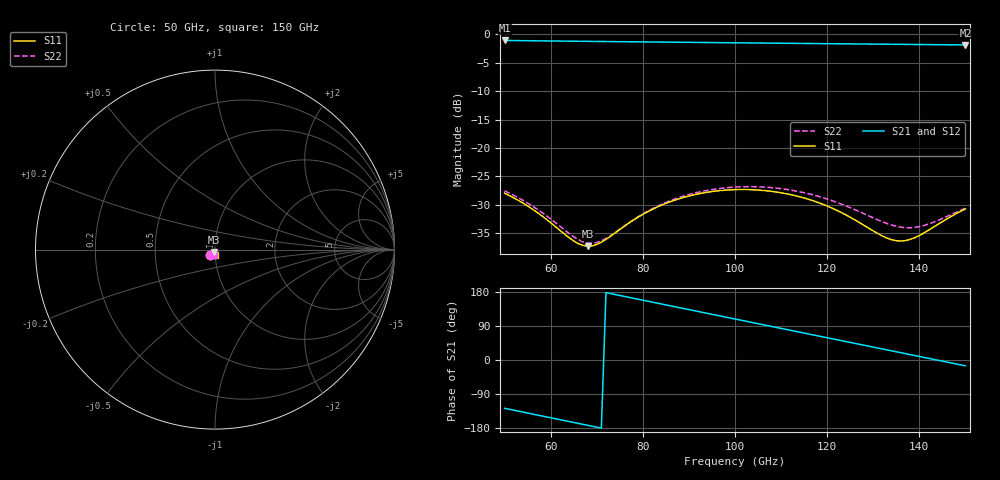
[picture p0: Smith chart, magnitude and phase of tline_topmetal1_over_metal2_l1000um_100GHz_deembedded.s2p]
! Created with skrf 2.2.0 (http://scikit-rf.org).
# GHz S DB R 50.0
! Port[1] = P1
! Port[2] = P2
!freq dBS11 angS11 dBS21 angS21 dBS12 angS12 dBS22 angS22
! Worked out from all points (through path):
!   101 points, 50 GHz to 150 GHz, reference 50 ohm
!   highest |S21| = -1.10 dB at 50 GHz (marker M1); lowest = -1.9 dB at 150 GHz (marker M2)
!   group delay of S21, straight-line fit = 6.88 ps
!   lowest |S11| = -37.2 dB at 68 GHz (marker M3), VSWR 1.03, Z = 49.5 - j1.26 ohm
!   |S11| at or under -10 dB: start of sweep to end of sweep
!   |S22| runs from -36.7 to -26.8 dB; largest |S21 - S12| = 9.4e-14
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50  -27.94 -131.4  -1.10 -127.5  -1.10 -127.5  -27.54 -131.1
55  -30.19 -139.2  -1.15 -140.0  -1.15 -140.0  -29.67 -139.0
59  -32.48 -141.3  -1.18 -149.9  -1.18 -149.9  -31.85 -141.5
64  -35.76 -132.8  -1.22 -162.4  -1.22 -162.4  -35.01 -134.6
67  -37.11 -118.3  -1.25 -169.8  -1.25 -169.8  -36.47 -121.8
68  -37.24 -112.4  -1.26 -172.3  -1.26 -172.3  -36.69 -116.3
71  -36.55 -96.0  -1.28 -179.8  -1.28 -179.8  -36.30 -99.7
76  -33.73 -83.3  -1.32 167.8  -1.32 167.8  -33.67 -85.0
84  -30.06 -87.1  -1.38 147.9  -1.38 147.9  -29.90 -86.8
92  -28.06 -100.2  -1.45 128.0  -1.45 128.0  -27.77 -98.8
100  -27.31 -115.4  -1.51 108.2  -1.51 108.2  -26.86 -113.3
104  -27.34 -123.1  -1.54 98.3  -1.54 98.3  -26.79 -120.6
108  -27.62 -130.6  -1.57 88.4  -1.57 88.4  -26.96 -127.7
112  -28.17 -137.6  -1.61 78.5  -1.61 78.5  -27.38 -134.3
117  -29.28 -145.0  -1.64 66.1  -1.64 66.1  -28.25 -141.4
121  -30.54 -149.3  -1.67 56.2  -1.67 56.2  -29.23 -145.6
126  -32.62 -150.6  -1.71 43.9  -1.71 43.9  -30.82 -147.6
134  -36.11 -132.0  -1.77 24.1  -1.77 24.1  -33.53 -137.3
137  -36.26 -117.8  -1.79 16.7  -1.79 16.7  -33.99 -128.4
140  -35.37 -105.5  -1.81 9.3  -1.81 9.3  -33.81 -118.9
145  -32.93 -95.4  -1.85 -3.0  -1.85 -3.0  -32.38 -107.7
150  -30.70 -95.1  -1.88 -15.4  -1.88 -15.4  -30.59 -104.3
